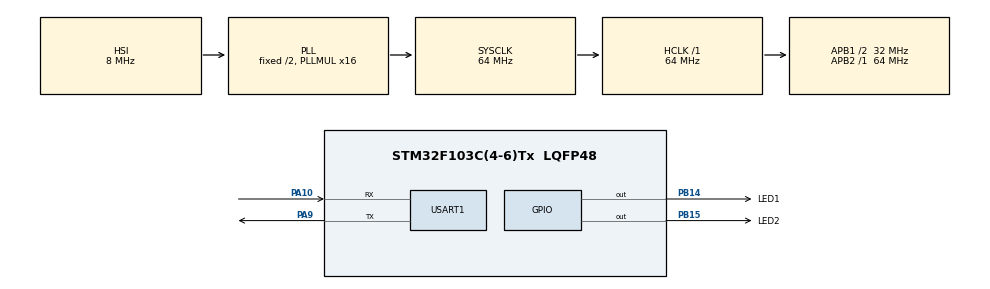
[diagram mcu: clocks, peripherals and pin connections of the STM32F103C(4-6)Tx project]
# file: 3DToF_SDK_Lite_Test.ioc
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Mcu.Family=STM32F1
Mcu.Name=STM32F103C(4-6)Tx
Mcu.Package=LQFP48
NVIC.PriorityGroup=NVIC_PRIORITYGROUP_4
NVIC.USART1_IRQn=true\:1\:0\:true\:false\:true\:true
PA10.Mode=Asynchronous
PA10.Signal=USART1_RX
PA13.Mode=JTAG_4_pins
PA13.Signal=SYS_JTMS-SWDIO
PA14.Mode=JTAG_4_pins
PA14.Signal=SYS_JTCK-SWCLK
PA15.Mode=JTAG_4_pins
PA15.Signal=SYS_JTDI
PA9.Mode=Asynchronous
PA9.Signal=USART1_TX
PB14.GPIO_Label=LED1
PB14.Signal=GPIO_Output
PB15.GPIO_Label=LED2
PB15.Signal=GPIO_Output
PB3.Mode=JTAG_4_pins
PB3.Signal=SYS_JTDO-TRACESWO
ProjectManager.HeapSize=0x200
ProjectManager.StackSize=0xa00
ProjectManager.TargetToolchain=MDK-ARM V5
RCC.AHBFreq_Value=64000000
RCC.APB1CLKDivider=RCC_HCLK_DIV2
RCC.APB1Freq_Value=32000000
RCC.APB1TimFreq_Value=64000000
RCC.APB2Freq_Value=64000000
RCC.APB2TimFreq_Value=64000000
RCC.HCLKFreq_Value=64000000
RCC.PLLMUL=RCC_PLL_MUL16
RCC.SYSCLKFreq_VALUE=64000000
RCC.SYSCLKSource=RCC_SYSCLKSOURCE_PLLCLK
RCC.USBFreq_Value=64000000
USART1.VirtualMode=VM_ASYNC
board=custom

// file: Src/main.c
/**
  ******************************************************************************
  * @file           : main.c
  * @brief          : Main program body
  ******************************************************************************
  ** This notice applies to any and all portions of this file
  * that are not between comment pairs USER CODE BEGIN and
  * USER CODE END. Other portions of this file, whether
  * inserted by the user or by software development tools
  * are owned by their respective copyright owners.
  *
  * COPYRIGHT(c) 2018 STMicroelectronics
  *
  * Redistribution and use in source and binary forms, with or without modification,
  * are permitted provided that the following conditions are met:
  *   1. Redistributions of source code must retain the above copyright notice,
  *      this list of conditions and the following disclaimer.
  *   2. Redistributions in binary form must reproduce the above copyright notice,
  *      this list of conditions and the following disclaimer in the documentation
  *      and/or other materials provided with the distribution.
  *   3. Neither the name of STMicroelectronics nor the names of its contributors
  *      may be used to endorse or promote products derived from this software
  *      without specific prior written permission.
  *
  * THIS SOFTWARE IS PROVIDED BY THE COPYRIGHT HOLDERS AND CONTRIBUTORS "AS IS"
  * AND ANY EXPRESS OR IMPLIED WARRANTIES, INCLUDING, BUT NOT LIMITED TO, THE
  * IMPLIED WARRANTIES OF MERCHANTABILITY AND FITNESS FOR A PARTICULAR PURPOSE ARE
  * DISCLAIMED. IN NO EVENT SHALL THE COPYRIGHT HOLDER OR CONTRIBUTORS BE LIABLE
  * FOR ANY DIRECT, INDIRECT, INCIDENTAL, SPECIAL, EXEMPLARY, OR CONSEQUENTIAL
  * DAMAGES (INCLUDING, BUT NOT LIMITED TO, PROCUREMENT OF SUBSTITUTE GOODS OR
  * SERVICES; LOSS OF USE, DATA, OR PROFITS; OR BUSINESS INTERRUPTION) HOWEVER
  * CAUSED AND ON ANY THEORY OF LIABILITY, WHETHER IN CONTRACT, STRICT LIABILITY,
  * OR TORT (INCLUDING NEGLIGENCE OR OTHERWISE) ARISING IN ANY WAY OUT OF THE USE
  * OF THIS SOFTWARE, EVEN IF ADVISED OF THE POSSIBILITY OF SUCH DAMAGE.
  *
  ******************************************************************************
  */
#include "main.h"
#include "stm32f1xx_hal.h"
#include "usart.h"
#include "gpio.h"

/* USER CODE BEGIN Includes */
#include "HPS3DToFSDKLite/inc/api.h"
#include <stdbool.h>
/* USER CODE END Includes */

/* USER CODE BEGIN PV */
/* Private variables ---------------------------------------------------------*/
volatile bool g_s_uart_rx_done = false;
/* USER CODE END PV */

void SystemClock_Config(void);

/* USER CODE BEGIN PFP */
/* Private function prototypes -----------------------------------------------*/

/* USER CODE END PFP */

/* USER CODE BEGIN 0 */
void HAL_UART_RxCpltCallback(UART_HandleTypeDef *huart)
{
	g_s_uart_rx_done = true;
}
/* USER CODE END 0 */

int main(void)
{

  /* MCU Configuration----------------------------------------------------------*/

  /* Reset of all peripherals, Initializes the Flash interface and the Systick. */
  HAL_Init();

  /* Configure the system clock */
  SystemClock_Config();

  /* Initialize all configured peripherals */
  MX_GPIO_Init();
  MX_USART1_UART_Init();
  /* USER CODE BEGIN 2 */
	uint8_t buff[512];
	uint8_t dev_addr = 1;
	MeasureDataTypeDef data;
	RetPacketTypedef type;
	if(RET_OK != HPS3D_GetDevAddr(&dev_addr))
	{
		dev_addr = 0;
	}

	HPS3D_Initialize(&dev_addr);

  /* USER CODE END 2 */

  /* Infinite loop */
  while (1)
  {

  /* USER CODE BEGIN 3 */
		HPS3D_SetRunMode(0, RUN_SINGLE_SHOT); /*设置为单次测量模式*/
		g_s_uart_rx_done = false;  /*设置接收完成标志位*/
		HAL_UART_Receive_IT(&huart1, buff, 2); /*串口接收两个字节*/
		while(!g_s_uart_rx_done){}  /*等待接收完成*/
		/*验证报头信息*/
		if(buff[0] == PACKET_HEAD1 && buff[1] == PACKET_HEAD2)
		{
			  /*将接收标志位置位*/
				g_s_uart_rx_done = false;
				/*读两个字节的报文长度*/
				HAL_UART_Receive_IT(&huart1, buff + 2, 2);
				while(!g_s_uart_rx_done){}
				/*得到报文长度 数据+CRC16+报尾*/
				uint8_t len = buff[2] + buff[3]*256;
				if(HAL_OK == HAL_UART_Receive(&huart1, buff + 4, len, 50))
				{
					/*解析测量数据包*/
					if(RET_OK == HPS3D_MeasureDataParse(buff, &data, &type))
					{
							HAL_GPIO_WritePin(LED1_GPIO_Port, LED1_Pin, 1);
							if(type == SIMPLE_DEPTH_PACKET)
							{
								DepthDataTypeDef d = data.simple_depth_data;
							}
					}
					else
					{
						HAL_GPIO_WritePin(LED1_GPIO_Port, LED1_Pin, 0);
					}
				}
		}
		else
		{
			HAL_GPIO_WritePin(LED1_GPIO_Port, LED1_Pin, 0);
		}

  }
  /* USER CODE END 3 */

}

void SystemClock_Config(void)
{

  RCC_OscInitTypeDef RCC_OscInitStruct;
  RCC_ClkInitTypeDef RCC_ClkInitStruct;

    /**Initializes the CPU, AHB and APB busses clocks
    */
  RCC_OscInitStruct.OscillatorType = RCC_OSCILLATORTYPE_HSI;
  RCC_OscInitStruct.HSIState = RCC_HSI_ON;
  RCC_OscInitStruct.HSICalibrationValue = 16;
  RCC_OscInitStruct.PLL.PLLState = RCC_PLL_ON;
  RCC_OscInitStruct.PLL.PLLSource = RCC_PLLSOURCE_HSI_DIV2;
  RCC_OscInitStruct.PLL.PLLMUL = RCC_PLL_MUL16;
  if (HAL_RCC_OscConfig(&RCC_OscInitStruct) != HAL_OK)
  {
    _Error_Handler(__FILE__, __LINE__);
  }

    /**Initializes the CPU, AHB and APB busses clocks
    */
  RCC_ClkInitStruct.ClockType = RCC_CLOCKTYPE_HCLK|RCC_CLOCKTYPE_SYSCLK
                              |RCC_CLOCKTYPE_PCLK1|RCC_CLOCKTYPE_PCLK2;
  RCC_ClkInitStruct.SYSCLKSource = RCC_SYSCLKSOURCE_PLLCLK;
  RCC_ClkInitStruct.AHBCLKDivider = RCC_SYSCLK_DIV1;
  RCC_ClkInitStruct.APB1CLKDivider = RCC_HCLK_DIV2;
  RCC_ClkInitStruct.APB2CLKDivider = RCC_HCLK_DIV1;

  if (HAL_RCC_ClockConfig(&RCC_ClkInitStruct, FLASH_LATENCY_2) != HAL_OK)
  {
    _Error_Handler(__FILE__, __LINE__);
  }

    /**Configure the Systick interrupt time
    */
  HAL_SYSTICK_Config(HAL_RCC_GetHCLKFreq()/1000);

    /**Configure the Systick
    */
  HAL_SYSTICK_CLKSourceConfig(SYSTICK_CLKSOURCE_HCLK);

  /* SysTick_IRQn interrupt configuration */
  HAL_NVIC_SetPriority(SysTick_IRQn, 0, 0);
}

void _Error_Handler(char *file, int line)
{
  while(1)
  {
  }
}

/************************ (C) COPYRIGHT STMicroelectronics *****END OF FILE****/
